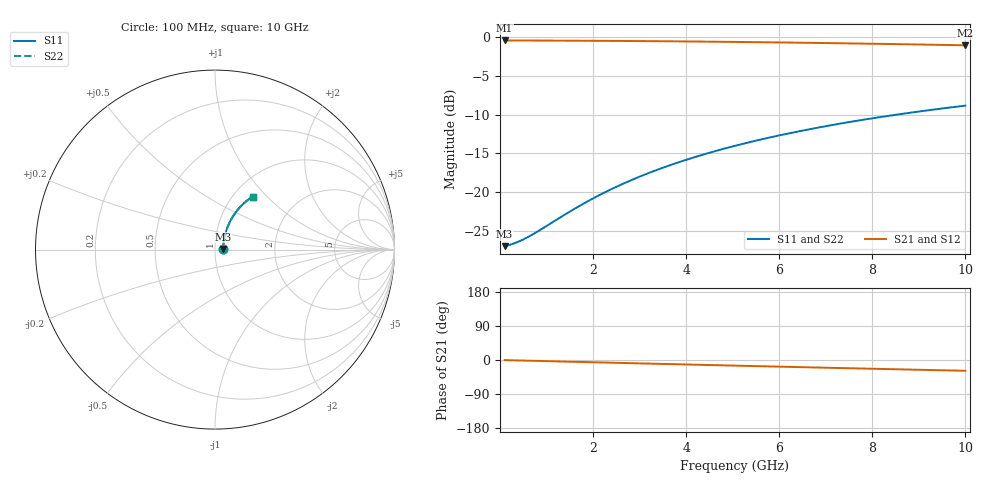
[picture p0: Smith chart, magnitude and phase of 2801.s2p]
# Hz S RI R 50.00
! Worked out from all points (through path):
!   100 points, 100 MHz to 10 GHz, reference 50 ohm
!   highest |S21| = -0.40 dB at 100 MHz (marker M1); lowest = -1.0 dB at 10 GHz (marker M2)
!   group delay of S21, straight-line fit = 7.92 ps
!   lowest |S11| = -27.0 dB at 100 MHz (marker M3), VSWR 1.09, Z = 54.7 + j0.406 ohm
!   |S11| at or under -10 dB: start of sweep to 8.513 GHz
!   |S22| runs from -27.0 to -8.8 dB; largest |S21 - S12| = 0
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1e8  0.0445 0.00371  0.9555 -0.00498  0.9555 -0.00498  0.0445 0.00371
2e8  0.0449 0.00741  0.9551 -0.00995  0.9551 -0.00995  0.0449 0.00741
3e8  0.0452 0.0111  0.9548 -0.0149  0.9548 -0.0149  0.0452 0.0111
4e8  0.0455 0.0148  0.9545 -0.0199  0.9545 -0.0199  0.0455 0.0148
6e8  0.0461 0.0222  0.9538 -0.0298  0.9538 -0.0298  0.0461 0.0222
8e8  0.0469 0.0295  0.9531 -0.0397  0.9531 -0.0397  0.0469 0.0295
1.5e9  0.0505 0.0551  0.9493 -0.0741  0.9493 -0.0741  0.0505 0.0551
1.8e9  0.0525 0.0659  0.9472 -0.0888  0.9472 -0.0888  0.0525 0.0659
2.2e9  0.0558 0.0802  0.9438 -0.1082  0.9438 -0.1082  0.0558 0.0802
2.6e9  0.0596 0.0944  0.9398 -0.1274  0.9398 -0.1274  0.0596 0.0944
3e9  0.0639 0.1083  0.9353 -0.1464  0.9353 -0.1464  0.0639 0.1083
3.4e9  0.0688 0.1219  0.9302 -0.1652  0.9302 -0.1652  0.0688 0.1219
3.8e9  0.0742 0.1354  0.9246 -0.1837  0.9246 -0.1837  0.0742 0.1354
4.2e9  0.0801 0.1485  0.9184 -0.2019  0.9184 -0.2019  0.0801 0.1485
4.6e9  0.0865 0.1613  0.9117 -0.2198  0.9117 -0.2198  0.0865 0.1613
5.1e9  0.0952 0.1768  0.9026 -0.2417  0.9026 -0.2417  0.0952 0.1768
5.9e9  0.1105 0.2005  0.8866 -0.2756  0.8866 -0.2756  0.1105 0.2005
6.7e9  0.1274 0.2226  0.8688 -0.3079  0.8688 -0.3079  0.1274 0.2226
7.5e9  0.1457 0.243  0.8496 -0.3386  0.8496 -0.3386  0.1457 0.243
8.4e9  0.1677 0.2638  0.8264 -0.371  0.8264 -0.371  0.1677 0.2638
9.2e9  0.1883 0.2804  0.8046 -0.398  0.8046 -0.398  0.1883 0.2804
1e10  0.2097 0.2952  0.7819 -0.4231  0.7819 -0.4231  0.2097 0.2952
